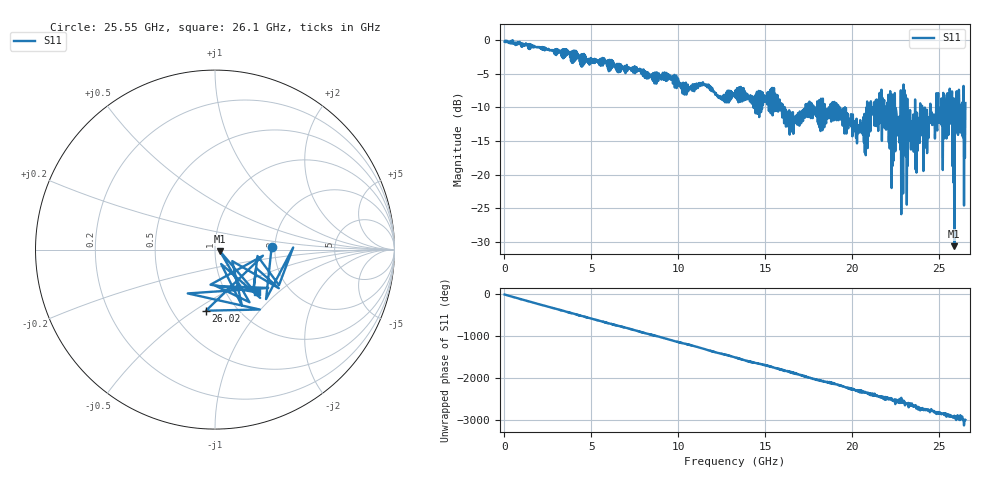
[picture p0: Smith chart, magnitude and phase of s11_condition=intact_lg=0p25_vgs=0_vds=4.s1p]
!Keysight Technologies N9918A: A.11.31
!Date: Thursday, 06 October 2022 15:41:05
!TimeZone: (UTC+01:00) Amsterdam, Berlin, Bern, Rome, Stockholm, Vienna!Model: N9918A
!Serial: MY57271747
!GPS Latitude:
!GPS Longitude:
!GPS TimeStamp: 0001-01-01 00:00:00Z
!GPS Seconds Since Last Read: 0
!CHECKSUM:0938303084
!Correction: S11(ON U)
!S1P File: Measurement: S11:
# Hz S DB R 50
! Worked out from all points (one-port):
!   1000 points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, 26.53 MHz to 26.5 GHz, reference 50 ohm
!   lowest |S11| = -30.7 dB at 25.86 GHz (marker M1), VSWR 1.06, Z = 52.8 - j0.997 ohm
!   |S11| at or under -10 dB: 16.11 GHz to 17.32 GHz (1.208 GHz wide, 7.23 % of centre); 19.58 GHz to 20.85 GHz (1.268 GHz wide, 6.27 % of centre); 24.01 GHz to 24.48 GHz (466.9 MHz wide, 1.93 % of centre)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
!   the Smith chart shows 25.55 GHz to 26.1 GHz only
!   S11 on the Smith chart (normalised r, x): 25.55 GHz: 1.92, +0.06; 26.02 GHz: 0.72, -0.56; 26.1 GHz: 1.38, -0.74
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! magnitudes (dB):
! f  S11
! 26.53 MHz  -0.2
! 3.339 GHz  -2.5
! 6.652 GHz  -3.6
! 9.964 GHz  -6.9
! 13.28 GHz  -7.5
! 15.58 GHz  -10.2
! 16.59 GHz  -10.7
! 17.57 GHz  -11.2
! 19.9 GHz  -12.6
! 20.7 GHz  -11.0
! 21.7 GHz  -15.0
! 22.1 GHz  -15.2
! 22.23 GHz  -9.5
! 22.53 GHz  -10.5
! 22.84 GHz  -8.0
! 22.98 GHz  -15.9
! 23.21 GHz  -11.0
! 24.22 GHz  -12.7
! 24.54 GHz  -12.3
! 25.55 GHz  -10.0
! 25.71 GHz  -12.0
! 25.78 GHz  -9.2
! 25.86 GHz  -30.7
! 25.94 GHz  -8.7
! 26.02 GHz  -9.3
! 26.1 GHz  -9.6
! 26.34 GHz  -9.2
! 26.5 GHz  -9.4
